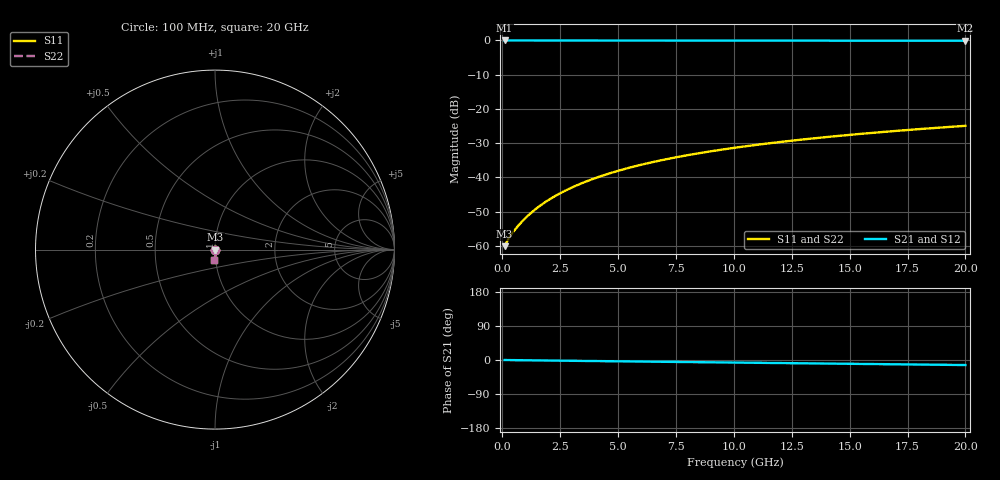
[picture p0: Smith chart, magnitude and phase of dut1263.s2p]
! Touchstone file exported from HFSS 2026.1.0
!  File:  C:/ffzhzh/LocalFiles/Ansys_Project_Files/temp_train_TMRDL_1263_1783164020_51560.aedt
!  Generated:  07:21:25 PM Jul  4, 2026
!  Design:  TMRDL
!  Project:  temp_train_TMRDL_1263_1783164020_51560
! Variables:
!  h_bsmrdl = 2um
!  h_ox = 20um
!  h_rdl = 5um
!  h_sub = 80um
!  h_tmrdl = 5.46um
!  h_tsv = 80um
!  h_via = 3um
!  l_bsmrdl = 300um
!  l_sub = 628.04um
!  l_tmrdl = 228.04um
!  m_sub = 200um
!  pitch = 21.18um
!  r_tsv = 6um
!  s_tmrdl = 10um
!  w_bsmrdl = 18um
!  w_sub = 500um
!  w_tmrdl = 18.45um
!  x_tsv_center1 = 237.265um
!  x_tsv_center2 = 555.265um
!  x_tsv_center3 = 801.755um
!  x_tsv_center4 = 1119.755um
!  x_tsv_center5 = 1366.245um
!  x_tsv_center6 = 1684.245um
# GHz S MA R 50.000000
! Terminal data exported
! Port[1] = TM_RDL1_1_T1
! Port[2] = TM_RDL1_1_T2
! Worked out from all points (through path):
!   200 points, 100 MHz to 20 GHz, reference 50 ohm
!   highest |S21| = -0.01 dB at 100 MHz (marker M1); lowest = -0.1 dB at 20 GHz (marker M2)
!   group delay of S21, straight-line fit = 1.84 ps
!   lowest |S11| = -60.1 dB at 100 MHz (marker M3), VSWR 1.00, Z = 50.1 + j0.00162 ohm
!   |S11| at or under -10 dB: start of sweep to end of sweep
!   |S22| runs from -60.1 to -25.0 dB; largest |S21 - S12| = 1.3e-14
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0.1  0.0009856 0.9  0.999 -0.1  0.999 -0.1  0.0009856 0.9
! Gamma 0 0 0 0
! Port Impedance 50 0 50 0
0.3  0.001315 -11.0  0.9987 -0.2  0.9987 -0.2  0.001315 -11.0
0.4  0.00148 -18.7  0.9986 -0.3  0.9986 -0.3  0.00148 -18.7
0.6  0.00181 -31.6  0.9984 -0.4  0.9984 -0.4  0.00181 -31.6
0.8  0.002162 -41.1  0.9984 -0.6  0.9984 -0.6  0.002162 -41.1
1  0.002537 -47.9  0.9983 -0.7  0.9983 -0.7  0.002537 -47.9
1.4  0.003346 -56.8  0.9981 -1.0  0.9981 -1.0  0.003346 -56.8
1.8  0.004215 -62.1  0.9979 -1.3  0.9979 -1.3  0.004215 -62.1
2.3  0.005367 -66.2  0.9977 -1.6  0.9977 -1.6  0.005367 -66.2
2.9  0.006831 -69.5  0.9974 -2.0  0.9974 -2.0  0.006831 -69.5
3.5  0.008367 -71.7  0.997 -2.4  0.997 -2.4  0.008367 -71.7
4.2  0.01023 -73.8  0.9966 -2.9  0.9966 -2.9  0.01023 -73.8
5  0.01243 -75.8  0.9961 -3.5  0.9961 -3.5  0.01243 -75.8
5.9  0.01498 -77.7  0.9957 -4.1  0.9957 -4.1  0.01498 -77.7
6.8  0.01756 -79.3  0.9952 -4.7  0.9952 -4.7  0.01756 -79.3
8.3  0.02192 -81.8  0.9945 -5.6  0.9945 -5.6  0.02192 -81.8
10.1  0.02721 -84.3  0.9937 -6.8  0.9937 -6.8  0.02721 -84.3
11.7  0.03193 -86.3  0.9931 -7.9  0.9931 -7.9  0.03193 -86.3
13.4  0.03696 -88.2  0.9924 -9.0  0.9924 -9.0  0.03696 -88.2
15  0.0417 -89.9  0.9918 -10.0  0.9918 -10.0  0.0417 -89.9
16.7  0.04675 -91.6  0.9911 -11.1  0.9911 -11.1  0.04675 -91.6
20  0.05652 -94.5  0.9897 -13.3  0.9897 -13.3  0.05652 -94.6
